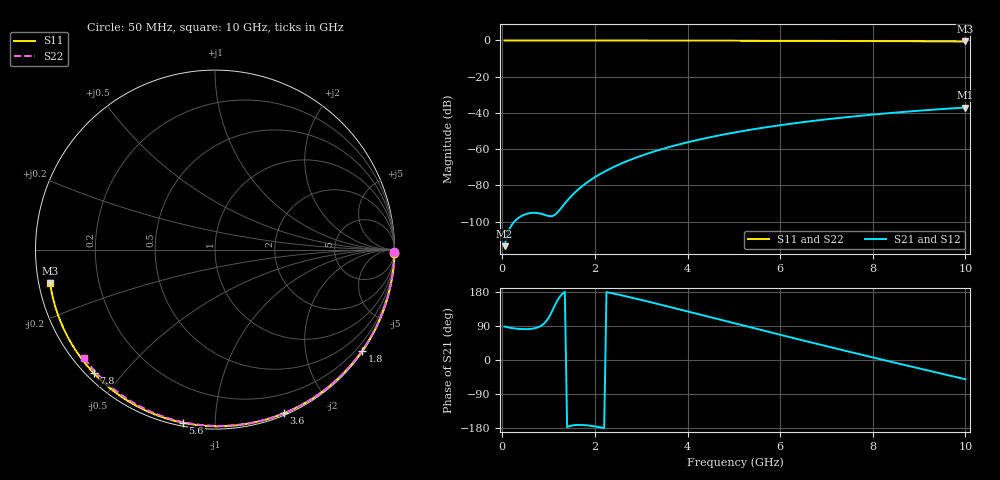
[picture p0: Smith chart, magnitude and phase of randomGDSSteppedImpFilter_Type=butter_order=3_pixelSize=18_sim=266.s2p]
! freq	dB(S11)	phase(S11)	dB(S12)	phase(S12)
!  dB(S21)	phase(S21)	dB(S22)	phase(S22)
!S-par simulation data
#  GHz  S  DB  R 50
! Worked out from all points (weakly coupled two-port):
!   200 points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, 50 MHz to 10 GHz, reference 50 ohm
!   highest |S21| = -37.00 dB at 10 GHz (marker M1); lowest = -113.5 dB at 50 MHz (marker M2)
!   lowest |S11| = -0.6 dB at 10 GHz (marker M3), VSWR 31.17, Z = 1.62 - j5.06 ohm
!   |S11| at or under -10 dB: nowhere
!   |S22| runs from -0.5 to 0.0 dB; largest |S21 - S12| = 0
!   S11 on the Smith chart (normalised r, x): 50 MHz: open; 1.8 GHz: 0.03, -3.21; 3.6 GHz: 0.02, -1.51; 5.6 GHz: 0.02, -0.83; 7.8 GHz: 0.02, -0.42; 10 GHz: 0.03, -0.10
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0.05  -0.00 -1.0  -113.50 88.3  -113.50 88.3  -0.00 -0.8
0.45  -0.01 -8.8  -96.40 81.5  -96.40 81.5  -0.01 -7.3
0.85  -0.02 -16.5  -95.70 91.3  -95.70 91.3  -0.02 -13.7
1.3  -0.03 -25.2  -91.54 174.9  -91.54 174.9  -0.03 -20.9
1.75  -0.04 -33.7  -79.89 -171.7  -79.89 -171.7  -0.04 -28.0
1.8  -0.04 -34.6  -78.92 -172.1  -78.92 -172.1  -0.04 -28.8
2.1  -0.05 -40.2  -73.90 -177.3  -73.90 -177.3  -0.04 -33.4
2.3  -0.06 -43.9  -71.14 178.0  -71.14 178.0  -0.05 -36.5
2.5  -0.06 -47.6  -68.70 172.8  -68.70 172.8  -0.05 -39.6
2.9  -0.07 -54.8  -64.55 161.5  -64.55 161.5  -0.06 -45.7
3.4  -0.08 -63.7  -60.31 146.6  -60.31 146.6  -0.07 -53.2
3.6  -0.09 -67.2  -58.84 140.5  -58.84 140.5  -0.08 -56.2
4.3  -0.11 -79.2  -54.42 118.9  -54.42 118.9  -0.09 -66.3
5.05  -0.14 -91.6  -50.61 95.7  -50.61 95.7  -0.12 -76.9
5.6  -0.17 -100.5  -48.27 78.8  -48.27 78.8  -0.14 -84.4
6.15  -0.20 -109.1  -46.22 62.0  -46.22 62.0  -0.16 -91.8
6.7  -0.23 -117.7  -44.42 45.4  -44.42 45.4  -0.19 -99.0
7.25  -0.27 -126.1  -42.81 29.0  -42.81 29.0  -0.22 -106.1
7.8  -0.31 -134.4  -41.38 12.7  -41.38 12.7  -0.26 -113.1
8.35  -0.37 -142.8  -40.09 -3.4  -40.09 -3.4  -0.31 -119.9
9.2  -0.46 -155.8  -38.37 -28.0  -38.37 -28.0  -0.38 -130.5
10  -0.56 -168.4  -37.00 -50.8  -37.00 -50.8  -0.47 -140.4
